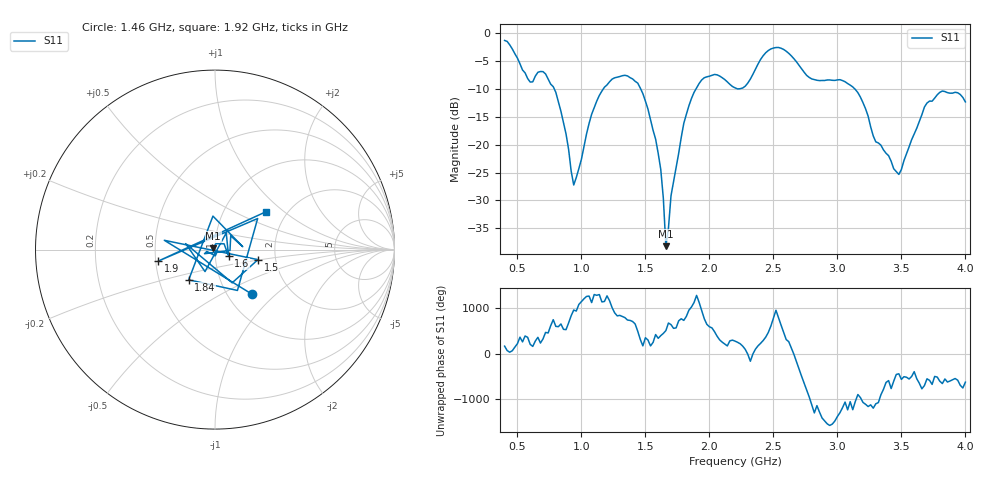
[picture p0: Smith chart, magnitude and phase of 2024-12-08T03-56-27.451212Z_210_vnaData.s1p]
!Created with skrf (http://scikit-rf.org).
# Hz S RI R 50.0
!freq ReS11 ImS11
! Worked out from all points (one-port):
!   181 points, 400 MHz to 4 GHz, reference 50 ohm
!   lowest |S11| = -38.2 dB at 1.66 GHz (marker M1), VSWR 1.02, Z = 49 + j0.732 ohm
!   |S11| at or under -10 dB: 787.7 MHz to 1.171 GHz (383.7 MHz wide, 39.2 % of centre); 1.463 GHz to 1.895 GHz (432.6 MHz wide, 25.8 % of centre); 3.135 GHz to end of sweep (the widest 3 of 4)
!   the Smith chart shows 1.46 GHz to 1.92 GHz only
!   S11 on the Smith chart (normalised r, x): 1.46 GHz: 1.29, -0.71; 1.5 GHz: 1.62, -0.19; 1.6 GHz: 1.16, -0.08; 1.84 GHz: 0.71, -0.25; 1.9 GHz: 0.52, -0.07; 1.92 GHz: 1.57, +0.76
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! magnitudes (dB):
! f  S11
! 400 MHz  -1.3
! 600 MHz  -8.8
! 720 MHz  -7.3
! 860 MHz  -16.0
! 940 MHz  -27.2
! 1.12 GHz  -12.2
! 1.3 GHz  -7.8
! 1.46 GHz  -9.9
! 1.5 GHz  -12.2
! 1.6 GHz  -21.6
! 1.64 GHz  -29.6
! 1.66 GHz  -38.2
! 1.7 GHz  -29.2
! 1.76 GHz  -21.5
! 1.84 GHz  -13.0
! 1.9 GHz  -9.8
! 1.92 GHz  -9.0
! 2.04 GHz  -7.4
! 2.2 GHz  -9.8
! 2.48 GHz  -2.9
! 2.66 GHz  -4.6
! 2.8 GHz  -8.2
! 3.1 GHz  -9.3
! 3.48 GHz  -25.3
! 3.56 GHz  -20.4
! 3.68 GHz  -13.3
! 3.8 GHz  -10.6
! 4 GHz  -12.3
